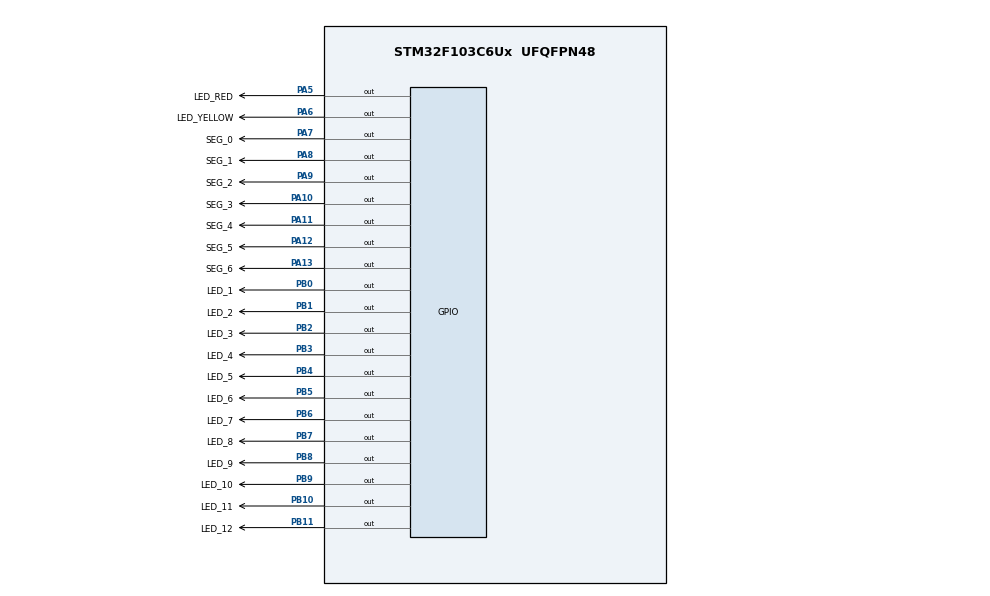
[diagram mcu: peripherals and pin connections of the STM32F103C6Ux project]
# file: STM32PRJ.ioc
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Mcu.Family=STM32F1
Mcu.Name=STM32F103C6Ux
Mcu.Package=UFQFPN48
NVIC.PriorityGroup=NVIC_PRIORITYGROUP_4
PA10.GPIO_Label=SEG_3
PA10.Signal=GPIO_Output
PA11.GPIO_Label=SEG_4
PA11.Signal=GPIO_Output
PA12.GPIO_Label=SEG_5
PA12.Signal=GPIO_Output
PA13.GPIO_Label=SEG_6
PA13.Signal=GPIO_Output
PA5.GPIO_Label=LED_RED
PA5.Signal=GPIO_Output
PA6.GPIO_Label=LED_YELLOW
PA6.Signal=GPIO_Output
PA7.GPIO_Label=SEG_0
PA7.Signal=GPIO_Output
PA8.GPIO_Label=SEG_1
PA8.Signal=GPIO_Output
PA9.GPIO_Label=SEG_2
PA9.Signal=GPIO_Output
PB0.GPIO_Label=LED_1
PB0.Signal=GPIO_Output
PB1.GPIO_Label=LED_2
PB1.Signal=GPIO_Output
PB10.GPIO_Label=LED_11
PB10.Signal=GPIO_Output
PB11.GPIO_Label=LED_12
PB11.Signal=GPIO_Output
PB2.GPIO_Label=LED_3
PB2.Signal=GPIO_Output
PB3.GPIO_Label=LED_4
PB3.Signal=GPIO_Output
PB4.GPIO_Label=LED_5
PB4.Signal=GPIO_Output
PB5.GPIO_Label=LED_6
PB5.Signal=GPIO_Output
PB6.GPIO_Label=LED_7
PB6.Signal=GPIO_Output
PB7.GPIO_Label=LED_8
PB7.Signal=GPIO_Output
PB8.GPIO_Label=LED_9
PB8.Signal=GPIO_Output
PB9.GPIO_Label=LED_10
PB9.Signal=GPIO_Output
ProjectManager.HeapSize=0x200
ProjectManager.StackSize=0x400
ProjectManager.TargetToolchain=STM32CubeIDE
RCC.APB1Freq_Value=8000000
RCC.APB2Freq_Value=8000000
VP_SYS_VS_ND.Mode=No_Debug
board=custom

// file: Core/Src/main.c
/* USER CODE BEGIN Header */
/**
  ******************************************************************************
  * @file           : main.c
  * @brief          : Main program body
  ******************************************************************************
  * @attention
  *
  * <h2><center>&copy; Copyright (c) 2024 STMicroelectronics.
  * All rights reserved.</center></h2>
  *
  * This software component is licensed by ST under BSD 3-Clause license,
  * the "License"; You may not use this file except in compliance with the
  * License. You may obtain a copy of the License at:
  *                        opensource.org/licenses/BSD-3-Clause
  *
  ******************************************************************************
  */
/* USER CODE END Header */
#include "main.h"

void SystemClock_Config(void);
static void MX_GPIO_Init(void);

void display7SEG(int num) {
	 // Ensure the number is within range
	    if (num < 0 || num > 9) {
	        return; // Optionally handle out-of-range input
	    }
	    // Set segments based on the number
	    switch (num) {
	        case 0:
	            HAL_GPIO_WritePin(SEG_0_GPIO_Port, SEG_0_Pin, GPIO_PIN_RESET);
	            HAL_GPIO_WritePin(SEG_1_GPIO_Port, SEG_1_Pin, GPIO_PIN_RESET);
	            HAL_GPIO_WritePin(SEG_2_GPIO_Port, SEG_2_Pin, GPIO_PIN_RESET);
	            HAL_GPIO_WritePin(SEG_3_GPIO_Port, SEG_3_Pin, GPIO_PIN_RESET);
	            HAL_GPIO_WritePin(SEG_4_GPIO_Port, SEG_4_Pin, GPIO_PIN_RESET);
	            HAL_GPIO_WritePin(SEG_5_GPIO_Port, SEG_5_Pin, GPIO_PIN_RESET);
	            HAL_GPIO_WritePin(SEG_6_GPIO_Port, SEG_6_Pin, GPIO_PIN_SET);
	            break;
	        case 1:
	            HAL_GPIO_WritePin(SEG_0_GPIO_Port, SEG_0_Pin, GPIO_PIN_SET);
	            HAL_GPIO_WritePin(SEG_1_GPIO_Port, SEG_1_Pin, GPIO_PIN_RESET);
	            HAL_GPIO_WritePin(SEG_2_GPIO_Port, SEG_2_Pin, GPIO_PIN_RESET);
	            HAL_GPIO_WritePin(SEG_3_GPIO_Port, SEG_3_Pin, GPIO_PIN_SET);
	            HAL_GPIO_WritePin(SEG_4_GPIO_Port, SEG_4_Pin, GPIO_PIN_SET);
	            HAL_GPIO_WritePin(SEG_5_GPIO_Port, SEG_5_Pin, GPIO_PIN_SET);
	            HAL_GPIO_WritePin(SEG_6_GPIO_Port, SEG_6_Pin, GPIO_PIN_SET);
	            break;
	        case 2:
	            HAL_GPIO_WritePin(SEG_0_GPIO_Port, SEG_0_Pin, GPIO_PIN_RESET);
	            HAL_GPIO_WritePin(SEG_1_GPIO_Port, SEG_1_Pin, GPIO_PIN_RESET);
	            HAL_GPIO_WritePin(SEG_2_GPIO_Port, SEG_2_Pin, GPIO_PIN_SET);
	            HAL_GPIO_WritePin(SEG_3_GPIO_Port, SEG_3_Pin, GPIO_PIN_RESET);
	            HAL_GPIO_WritePin(SEG_4_GPIO_Port, SEG_4_Pin, GPIO_PIN_RESET);
	            HAL_GPIO_WritePin(SEG_5_GPIO_Port, SEG_5_Pin, GPIO_PIN_SET);
	            HAL_GPIO_WritePin(SEG_6_GPIO_Port, SEG_6_Pin, GPIO_PIN_RESET);
	            break;
	        case 3:
	            HAL_GPIO_WritePin(SEG_0_GPIO_Port, SEG_0_Pin, GPIO_PIN_RESET);
	            HAL_GPIO_WritePin(SEG_1_GPIO_Port, SEG_1_Pin, GPIO_PIN_RESET);
	            HAL_GPIO_WritePin(SEG_2_GPIO_Port, SEG_2_Pin, GPIO_PIN_RESET);
	            HAL_GPIO_WritePin(SEG_3_GPIO_Port, SEG_3_Pin, GPIO_PIN_RESET);
	            HAL_GPIO_WritePin(SEG_4_GPIO_Port, SEG_4_Pin, GPIO_PIN_SET);
	            HAL_GPIO_WritePin(SEG_5_GPIO_Port, SEG_5_Pin, GPIO_PIN_SET);
	            HAL_GPIO_WritePin(SEG_6_GPIO_Port, SEG_6_Pin, GPIO_PIN_RESET);
	            break;
	        case 4:
	            HAL_GPIO_WritePin(SEG_0_GPIO_Port, SEG_0_Pin, GPIO_PIN_SET);
	            HAL_GPIO_WritePin(SEG_1_GPIO_Port, SEG_1_Pin, GPIO_PIN_RESET);
	            HAL_GPIO_WritePin(SEG_2_GPIO_Port, SEG_2_Pin, GPIO_PIN_RESET);
	            HAL_GPIO_WritePin(SEG_3_GPIO_Port, SEG_3_Pin, GPIO_PIN_SET);
	            HAL_GPIO_WritePin(SEG_4_GPIO_Port, SEG_4_Pin, GPIO_PIN_SET);
	            HAL_GPIO_WritePin(SEG_5_GPIO_Port, SEG_5_Pin, GPIO_PIN_RESET);
	            HAL_GPIO_WritePin(SEG_6_GPIO_Port, SEG_6_Pin, GPIO_PIN_RESET);
	            break;
	        case 5:
	            HAL_GPIO_WritePin(SEG_0_GPIO_Port, SEG_0_Pin, GPIO_PIN_RESET);
	            HAL_GPIO_WritePin(SEG_1_GPIO_Port, SEG_1_Pin, GPIO_PIN_SET);
	            HAL_GPIO_WritePin(SEG_2_GPIO_Port, SEG_2_Pin, GPIO_PIN_RESET);
	            HAL_GPIO_WritePin(SEG_3_GPIO_Port, SEG_3_Pin, GPIO_PIN_RESET);
	            HAL_GPIO_WritePin(SEG_4_GPIO_Port, SEG_4_Pin, GPIO_PIN_SET);
	            HAL_GPIO_WritePin(SEG_5_GPIO_Port, SEG_5_Pin, GPIO_PIN_RESET);
	            HAL_GPIO_WritePin(SEG_6_GPIO_Port, SEG_6_Pin, GPIO_PIN_RESET);
	            break;
	        case 6:
	            HAL_GPIO_WritePin(SEG_0_GPIO_Port, SEG_0_Pin, GPIO_PIN_RESET);
	            HAL_GPIO_WritePin(SEG_1_GPIO_Port, SEG_1_Pin, GPIO_PIN_SET);
	            HAL_GPIO_WritePin(SEG_2_GPIO_Port, SEG_2_Pin, GPIO_PIN_RESET);
	            HAL_GPIO_WritePin(SEG_3_GPIO_Port, SEG_3_Pin, GPIO_PIN_RESET);
	            HAL_GPIO_WritePin(SEG_4_GPIO_Port, SEG_4_Pin, GPIO_PIN_RESET);
	            HAL_GPIO_WritePin(SEG_5_GPIO_Port, SEG_5_Pin, GPIO_PIN_RESET);
	            HAL_GPIO_WritePin(SEG_6_GPIO_Port, SEG_6_Pin, GPIO_PIN_RESET);
	            break;
	        case 7:
	            HAL_GPIO_WritePin(SEG_0_GPIO_Port, SEG_0_Pin, GPIO_PIN_RESET);
	            HAL_GPIO_WritePin(SEG_1_GPIO_Port, SEG_1_Pin, GPIO_PIN_RESET);
	            HAL_GPIO_WritePin(SEG_2_GPIO_Port, SEG_2_Pin, GPIO_PIN_RESET);
	            HAL_GPIO_WritePin(SEG_3_GPIO_Port, SEG_3_Pin, GPIO_PIN_SET);
	            HAL_GPIO_WritePin(SEG_4_GPIO_Port, SEG_4_Pin, GPIO_PIN_SET);
	            HAL_GPIO_WritePin(SEG_5_GPIO_Port, SEG_5_Pin, GPIO_PIN_SET);
	            HAL_GPIO_WritePin(SEG_6_GPIO_Port, SEG_6_Pin, GPIO_PIN_SET);
	            break;
	        case 8:
	            HAL_GPIO_WritePin(SEG_0_GPIO_Port, SEG_0_Pin, GPIO_PIN_RESET);
	            HAL_GPIO_WritePin(SEG_1_GPIO_Port, SEG_1_Pin, GPIO_PIN_RESET);
	            HAL_GPIO_WritePin(SEG_2_GPIO_Port, SEG_2_Pin, GPIO_PIN_RESET);
	            HAL_GPIO_WritePin(SEG_3_GPIO_Port, SEG_3_Pin, GPIO_PIN_RESET);
	            HAL_GPIO_WritePin(SEG_4_GPIO_Port, SEG_4_Pin, GPIO_PIN_RESET);
	            HAL_GPIO_WritePin(SEG_5_GPIO_Port, SEG_5_Pin, GPIO_PIN_RESET);
	            HAL_GPIO_WritePin(SEG_6_GPIO_Port, SEG_6_Pin, GPIO_PIN_RESET);
	            break;
	        case 9:
	            HAL_GPIO_WritePin(SEG_0_GPIO_Port, SEG_0_Pin, GPIO_PIN_RESET);
	            HAL_GPIO_WritePin(SEG_1_GPIO_Port, SEG_1_Pin, GPIO_PIN_RESET);
	            HAL_GPIO_WritePin(SEG_2_GPIO_Port, SEG_2_Pin, GPIO_PIN_RESET);
	            HAL_GPIO_WritePin(SEG_3_GPIO_Port, SEG_3_Pin, GPIO_PIN_RESET);
	            HAL_GPIO_WritePin(SEG_4_GPIO_Port, SEG_4_Pin, GPIO_PIN_SET);
	            HAL_GPIO_WritePin(SEG_5_GPIO_Port, SEG_5_Pin, GPIO_PIN_RESET);
	            HAL_GPIO_WritePin(SEG_6_GPIO_Port, SEG_6_Pin, GPIO_PIN_RESET);
	            break;

}
}

int main(void)
{

  /* MCU Configuration--------------------------------------------------------*/

  /* Reset of all peripherals, Initializes the Flash interface and the Systick. */
  HAL_Init();

  /* Configure the system clock */
  SystemClock_Config();

  /* Initialize all configured peripherals */
  MX_GPIO_Init();

  /* Infinite loop */
  /* USER CODE BEGIN WHILE */

  while (1)
  {//ex5
	      display7SEG(4);
	      HAL_GPIO_WritePin ( LED_2_GPIO_Port , LED_2_Pin , GPIO_PIN_RESET ) ;  //yellow 1
	  	  HAL_GPIO_WritePin ( LED_3_GPIO_Port , LED_3_Pin , GPIO_PIN_SET ) ;  //red 1
	  	  HAL_GPIO_WritePin ( LED_4_GPIO_Port , LED_4_Pin , GPIO_PIN_RESET ) ;   //green 1
	      HAL_GPIO_WritePin ( LED_5_GPIO_Port , LED_5_Pin , GPIO_PIN_RESET ) ;  //yellow 2
	  	  HAL_GPIO_WritePin ( LED_6_GPIO_Port , LED_6_Pin , GPIO_PIN_RESET ) ;  //red 2
	  	  HAL_GPIO_WritePin ( LED_7_GPIO_Port , LED_7_Pin , GPIO_PIN_SET ) ;   //green 2
	      HAL_GPIO_WritePin ( LED_8_GPIO_Port , LED_8_Pin , GPIO_PIN_RESET ) ;  //yellow 1
	  	  HAL_GPIO_WritePin ( LED_9_GPIO_Port , LED_9_Pin , GPIO_PIN_SET ) ;  //red 1
	  	  HAL_GPIO_WritePin ( LED_10_GPIO_Port , LED_10_Pin , GPIO_PIN_RESET ) ;   //green 1
	      HAL_GPIO_WritePin ( LED_11_GPIO_Port , LED_11_Pin , GPIO_PIN_RESET ) ;  //yellow 2
	  	  HAL_GPIO_WritePin ( LED_12_GPIO_Port , LED_12_Pin , GPIO_PIN_RESET ) ;  //red  2
	  	  HAL_GPIO_WritePin ( LED_1_GPIO_Port , LED_1_Pin , GPIO_PIN_SET ) ;   //green	 2
	  	  HAL_Delay(999);
	  	  display7SEG(3);
	  	  HAL_Delay(999);
	  	  display7SEG(2);
	  	  HAL_Delay(999);
	  	  display7SEG(1);
	      HAL_GPIO_WritePin ( LED_2_GPIO_Port , LED_2_Pin , GPIO_PIN_RESET ) ;  //yellow 1
	  	  HAL_GPIO_WritePin ( LED_3_GPIO_Port , LED_3_Pin , GPIO_PIN_SET ) ;  //red 1
	  	  HAL_GPIO_WritePin ( LED_4_GPIO_Port , LED_4_Pin , GPIO_PIN_RESET ) ;   //green 1
	      HAL_GPIO_WritePin ( LED_5_GPIO_Port , LED_5_Pin , GPIO_PIN_SET ) ;  //yellow 2
	  	  HAL_GPIO_WritePin ( LED_6_GPIO_Port , LED_6_Pin , GPIO_PIN_RESET ) ;  //red 2
	  	  HAL_GPIO_WritePin ( LED_7_GPIO_Port , LED_7_Pin , GPIO_PIN_RESET ) ;   //green 2
	      HAL_GPIO_WritePin ( LED_8_GPIO_Port , LED_8_Pin , GPIO_PIN_RESET ) ;  //yellow 1
	  	  HAL_GPIO_WritePin ( LED_9_GPIO_Port , LED_9_Pin , GPIO_PIN_SET ) ;  //red 1
	  	  HAL_GPIO_WritePin ( LED_10_GPIO_Port , LED_10_Pin , GPIO_PIN_RESET ) ;   //green 1
	      HAL_GPIO_WritePin ( LED_11_GPIO_Port , LED_11_Pin , GPIO_PIN_SET ) ;  //yellow 2
	  	  HAL_GPIO_WritePin ( LED_12_GPIO_Port , LED_12_Pin , GPIO_PIN_RESET ) ;  //red  2
	  	  HAL_GPIO_WritePin ( LED_1_GPIO_Port , LED_1_Pin , GPIO_PIN_RESET ) ;   //green	 2
	  	  HAL_Delay(999);
	  	  display7SEG(0);
	  	  HAL_Delay(999);
	  	  display7SEG(2);
	   	HAL_GPIO_WritePin ( LED_2_GPIO_Port , LED_2_Pin , GPIO_PIN_RESET ) ;  //yellow 1
	   	HAL_GPIO_WritePin ( LED_3_GPIO_Port , LED_3_Pin , GPIO_PIN_RESET ) ;  //red 1
	  	HAL_GPIO_WritePin ( LED_4_GPIO_Port , LED_4_Pin , GPIO_PIN_SET ) ;   //green 1
	  	HAL_GPIO_WritePin ( LED_5_GPIO_Port , LED_5_Pin , GPIO_PIN_RESET ) ;  //yellow 2
	  	HAL_GPIO_WritePin ( LED_6_GPIO_Port , LED_6_Pin , GPIO_PIN_SET ) ;  //red 2
	  	HAL_GPIO_WritePin ( LED_7_GPIO_Port , LED_7_Pin , GPIO_PIN_RESET ) ;   //green 2
	  	HAL_GPIO_WritePin ( LED_8_GPIO_Port , LED_8_Pin , GPIO_PIN_RESET ) ;  //yellow 1
	  	HAL_GPIO_WritePin ( LED_9_GPIO_Port , LED_9_Pin , GPIO_PIN_RESET ) ;  //red 1
	  	HAL_GPIO_WritePin ( LED_10_GPIO_Port , LED_10_Pin , GPIO_PIN_SET ) ;   //green 1
	  	HAL_GPIO_WritePin ( LED_11_GPIO_Port , LED_11_Pin , GPIO_PIN_RESET ) ;  //yellow 2
	  	HAL_GPIO_WritePin ( LED_12_GPIO_Port , LED_12_Pin , GPIO_PIN_SET ) ;  //red  2
	  	HAL_GPIO_WritePin ( LED_1_GPIO_Port , LED_1_Pin , GPIO_PIN_RESET ) ;   //green	 2
	  	  HAL_Delay(999);
	  	  display7SEG(1);
	  	  HAL_Delay(999);
	  	  display7SEG(0);
	  	  HAL_Delay(999);
	  	  display7SEG(1);
	  	HAL_GPIO_WritePin ( LED_2_GPIO_Port , LED_2_Pin , GPIO_PIN_SET ) ;  //yellow 1
	  	HAL_GPIO_WritePin ( LED_3_GPIO_Port , LED_3_Pin , GPIO_PIN_RESET ) ;  //red 1
	  	HAL_GPIO_WritePin ( LED_4_GPIO_Port , LED_4_Pin , GPIO_PIN_RESET ) ;   //green 1
	  	HAL_GPIO_WritePin ( LED_5_GPIO_Port , LED_5_Pin , GPIO_PIN_RESET ) ;  //yellow 2
	  	HAL_GPIO_WritePin ( LED_6_GPIO_Port , LED_6_Pin , GPIO_PIN_SET ) ;  //red 2
	  	HAL_GPIO_WritePin ( LED_7_GPIO_Port , LED_7_Pin , GPIO_PIN_RESET ) ;   //green 2
	  	HAL_GPIO_WritePin ( LED_8_GPIO_Port , LED_8_Pin , GPIO_PIN_SET ) ;  //yellow 1
	  	HAL_GPIO_WritePin ( LED_9_GPIO_Port , LED_9_Pin , GPIO_PIN_RESET ) ;  //red 1
	  	HAL_GPIO_WritePin ( LED_10_GPIO_Port , LED_10_Pin , GPIO_PIN_RESET ) ;   //green 1
	  	HAL_GPIO_WritePin ( LED_11_GPIO_Port , LED_11_Pin , GPIO_PIN_RESET ) ;  //yellow 2
	  	HAL_GPIO_WritePin ( LED_12_GPIO_Port , LED_12_Pin , GPIO_PIN_SET ) ;  //red  2
	  	HAL_GPIO_WritePin ( LED_1_GPIO_Port , LED_1_Pin , GPIO_PIN_RESET ) ;   //green	 2
	  	  HAL_Delay(999);
	  	  display7SEG(0);
	  	  HAL_Delay(999);

    /* USER CODE END WHILE */

  }
}

void SystemClock_Config(void)
{
  RCC_OscInitTypeDef RCC_OscInitStruct = {0};
  RCC_ClkInitTypeDef RCC_ClkInitStruct = {0};

  /** Initializes the RCC Oscillators according to the specified parameters
  * in the RCC_OscInitTypeDef structure.
  */
  RCC_OscInitStruct.OscillatorType = RCC_OSCILLATORTYPE_HSI;
  RCC_OscInitStruct.HSIState = RCC_HSI_ON;
  RCC_OscInitStruct.HSICalibrationValue = RCC_HSICALIBRATION_DEFAULT;
  RCC_OscInitStruct.PLL.PLLState = RCC_PLL_NONE;
  if (HAL_RCC_OscConfig(&RCC_OscInitStruct) != HAL_OK)
  {
    Error_Handler();
  }
  /** Initializes the CPU, AHB and APB buses clocks
  */
  RCC_ClkInitStruct.ClockType = RCC_CLOCKTYPE_HCLK|RCC_CLOCKTYPE_SYSCLK
                              |RCC_CLOCKTYPE_PCLK1|RCC_CLOCKTYPE_PCLK2;
  RCC_ClkInitStruct.SYSCLKSource = RCC_SYSCLKSOURCE_HSI;
  RCC_ClkInitStruct.AHBCLKDivider = RCC_SYSCLK_DIV1;
  RCC_ClkInitStruct.APB1CLKDivider = RCC_HCLK_DIV1;
  RCC_ClkInitStruct.APB2CLKDivider = RCC_HCLK_DIV1;

  if (HAL_RCC_ClockConfig(&RCC_ClkInitStruct, FLASH_LATENCY_0) != HAL_OK)
  {
    Error_Handler();
  }
}

static void MX_GPIO_Init(void)
{
  GPIO_InitTypeDef GPIO_InitStruct = {0};

  /* GPIO Ports Clock Enable */
  __HAL_RCC_GPIOA_CLK_ENABLE();
  __HAL_RCC_GPIOB_CLK_ENABLE();

  /*Configure GPIO pin Output Level */
  HAL_GPIO_WritePin(GPIOA, LED_RED_Pin|LED_YELLOW_Pin|SEG_0_Pin|SEG_1_Pin
                          |SEG_2_Pin|SEG_3_Pin|SEG_4_Pin|SEG_5_Pin
                          |SEG_6_Pin, GPIO_PIN_RESET);

  /*Configure GPIO pin Output Level */
  HAL_GPIO_WritePin(GPIOB, LED_1_Pin|LED_2_Pin|LED_3_Pin|LED_11_Pin
                          |LED_12_Pin|LED_4_Pin|LED_5_Pin|LED_6_Pin
                          |LED_7_Pin|LED_8_Pin|LED_9_Pin|LED_10_Pin, GPIO_PIN_RESET);

  /*Configure GPIO pins : LED_RED_Pin LED_YELLOW_Pin SEG_0_Pin SEG_1_Pin
                           SEG_2_Pin SEG_3_Pin SEG_4_Pin SEG_5_Pin
                           SEG_6_Pin */
  GPIO_InitStruct.Pin = LED_RED_Pin|LED_YELLOW_Pin|SEG_0_Pin|SEG_1_Pin
                          |SEG_2_Pin|SEG_3_Pin|SEG_4_Pin|SEG_5_Pin
                          |SEG_6_Pin;
  GPIO_InitStruct.Mode = GPIO_MODE_OUTPUT_PP;
  GPIO_InitStruct.Pull = GPIO_NOPULL;
  GPIO_InitStruct.Speed = GPIO_SPEED_FREQ_LOW;
  HAL_GPIO_Init(GPIOA, &GPIO_InitStruct);

  /*Configure GPIO pins : LED_1_Pin LED_2_Pin LED_3_Pin LED_11_Pin
                           LED_12_Pin LED_4_Pin LED_5_Pin LED_6_Pin
                           LED_7_Pin LED_8_Pin LED_9_Pin LED_10_Pin */
  GPIO_InitStruct.Pin = LED_1_Pin|LED_2_Pin|LED_3_Pin|LED_11_Pin
                          |LED_12_Pin|LED_4_Pin|LED_5_Pin|LED_6_Pin
                          |LED_7_Pin|LED_8_Pin|LED_9_Pin|LED_10_Pin;
  GPIO_InitStruct.Mode = GPIO_MODE_OUTPUT_PP;
  GPIO_InitStruct.Pull = GPIO_NOPULL;
  GPIO_InitStruct.Speed = GPIO_SPEED_FREQ_LOW;
  HAL_GPIO_Init(GPIOB, &GPIO_InitStruct);

}

void Error_Handler(void)
{
  __disable_irq();
  while (1)
  {
  }
}

/************************ (C) COPYRIGHT STMicroelectronics *****END OF FILE****/
